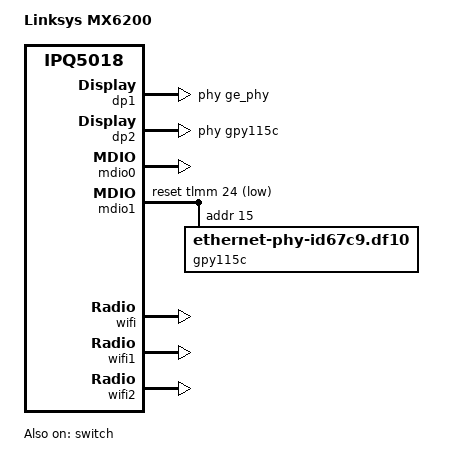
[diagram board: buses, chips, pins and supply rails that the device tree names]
/dts-v1/;

#include "ipq5018.dtsi"
#include "ipq5018-mx-base.dtsi"
#include "ipq5018-qcn6122.dtsi"

/ {
	model = "Linksys MX6200";
	compatible = "linksys,mx6200", "qcom,ipq5018";

	chosen {
		bootargs-append = " root=/dev/ubiblock0_1 coherent_pool=2M";
		stdout-path = "serial0:115200n8";
	};
};

/*
* =================================================================
*     _______________________             ____________
*    |        IPQ5018        |           |            |
*    | +------+   +--------+ |           | +--------+ |
*    | | MAC0 |---| GE Phy |-+--- MDI ---+ | RJ45   | +
*    | +------+   +--------+ |           | +--------+ |
*    |                       |           |____________|
*    |                       |            _______________________
*    |                       |           |    MXL GPY115C Phy    |
*    | +------+   +--------+ |           | +--------+   +------+ |
*    | | MAC1 |---| Uniphy |-+-- SGMII---+ | Phy    |---| RJ45 | |
*    | +------+   +--------+ |           | +--------+   +------+ |
*    |_______________________|           |_______________________|
*
* =================================================================
 */

&switch {
	status = "okay";

	switch_mac_mode = <MAC_MODE_SGMII_CHANNEL0>;

	qcom,port_phyinfo {
		// MAC0 -> GE Phy -> MDI --> RJ45
		port@1 {
			port_id = <1>;
			mdiobus = <&mdio0>;
			phy_address = <7>;
		};

		// MAC1 ---SGMII---> MaxLinear PHY -> RJ45
		port@2 {
			port_id = <2>;
			mdiobus = <&mdio1>;
			phy_address = <15>;
			port_mac_sel = "QGMAC_PORT";
		};
	};
};

// MAC0 ---MDI---> IPQ5018 GE PHY
&dp1 {
	status = "okay";

	label = "lan";
	phy-handle = <&ge_phy>;
	nvmem-cells = <&hw_mac_addr 1>;
	nvmem-cell-names = "mac-address";
};

// MAC1 ---SGMII---> MXL Phy
&dp2 {
	status = "okay";

	label = "wan";
	phy-handle = <&gpy115c>;
	nvmem-cells = <&hw_mac_addr 0>;
	nvmem-cell-names = "mac-address";
};

&mdio0 {
	status = "okay";
};

&mdio1 {
	status = "okay";

	pinctrl-0 = <&mdio1_pins>;
	pinctrl-names = "default";
	reset-gpios = <&tlmm 24 GPIO_ACTIVE_LOW>;

	// Maxlinear Ethernet GPY115C
	gpy115c: ethernet-phy@f {
		compatible = "ethernet-phy-id67c9.df10";
		reg = <15>;
	};
};

&q6_region {
	reg = <0x0 0x4b000000 0x0 0x4d00000>;
};

&wifi {
	status = "okay";

	qcom,rproc = <&q6_wcss_pd1>;
	qcom,ath11k-calibration-variant = "Linksys-MX6200";
	qcom,ath11k-fw-memory-mode = <1>;
	qcom,bdf-addr = <0x4c400000>;
};

&wifi1 {
	status = "okay";

	qcom,rproc = <&q6_wcss_pd2>;
	qcom,userpd-subsys-name = "q6v5_wcss_userpd2";
	qcom,ath11k-calibration-variant = "Linksys-MX6200-5G";
	qcom,ath11k-fw-memory-mode = <1>;
	qcom,m3-dump-addr = <0x4df00000>;
};

&wifi2 {
	status = "okay";

	qcom,rproc = <&q6_wcss_pd3>;
	qcom,userpd-subsys-name = "q6v5_wcss_userpd3";
	qcom,ath11k-calibration-variant = "Linksys-MX6200-6G";
	qcom,ath11k-fw-memory-mode = <1>;
	qcom,bdf-addr = <0x4e500000>;
	qcom,m3-dump-addr = <0x4f200000>;
};
